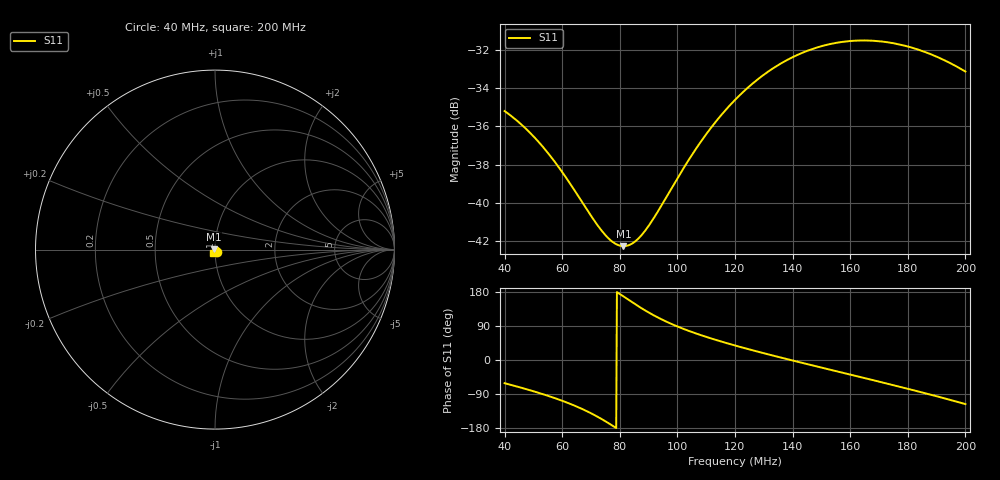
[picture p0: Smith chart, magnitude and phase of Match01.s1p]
# Hz S RI R 50
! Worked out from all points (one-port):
!   641 points, 40 MHz to 200 MHz, reference 50 ohm
!   lowest |S11| = -42.3 dB at 81.25 MHz (marker M1), VSWR 1.02, Z = 49.3 + j0.161 ohm
!   |S11| at or under -10 dB: start of sweep to end of sweep
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4e7  0.00837 -0.0152
4.45e7  0.00548 -0.0154
4.975e7  0.00212 -0.0149
5.475e7  -0.000884 -0.0136
6e7  -0.00364 -0.0115
7.05e7  -0.00724 -0.00556
7.35e7  -0.00769 -0.00359
7.7e7  -0.00786 -0.00124
8e7  -0.00768 0.000792
8.125e7  -0.00752 0.00163
8.45e7  -0.00688 0.00376
8.825e7  -0.00573 0.00607
9.25e7  -0.00393 0.00843
1e8  0.000308 0.0116
1.0525e8  0.00387 0.0129
1.1025e8  0.00752 0.0132
1.15e8  0.011 0.0128
1.2e8  0.0146 0.0115
1.2475e8  0.0177 0.00957
1.2975e8  0.0205 0.0068
1.3475e8  0.0226 0.00344
1.4e8  0.0241 -0.00056
1.5e8  0.0242 -0.00879
1.6e8  0.0208 -0.0165
1.7e8  0.0144 -0.0222
1.8e8  0.00622 -0.0249
1.895e8  -0.00195 -0.0242
2e8  -0.00981 -0.0198
